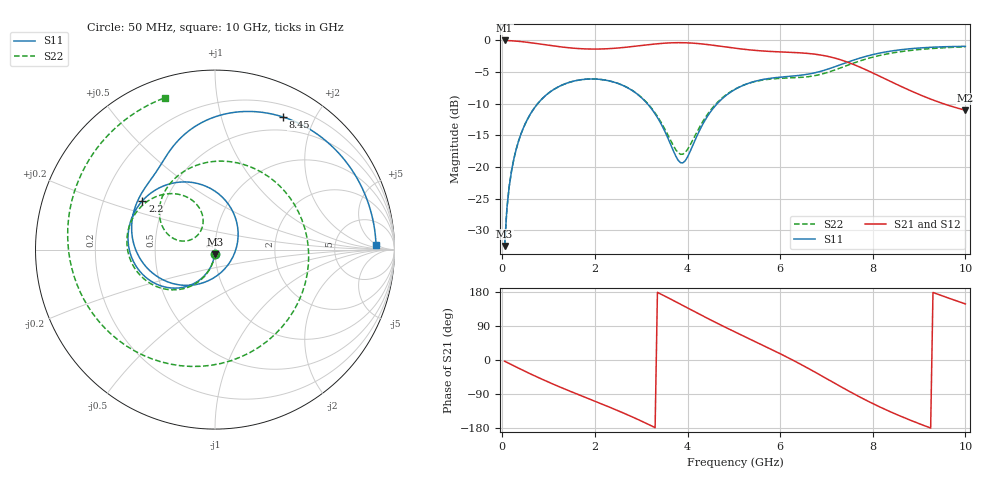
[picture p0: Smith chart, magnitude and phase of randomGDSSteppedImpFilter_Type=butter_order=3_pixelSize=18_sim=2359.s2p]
! freq	dB(S11)	phase(S11)	dB(S12)	phase(S12)
!  dB(S21)	phase(S21)	dB(S22)	phase(S22)
!S-par simulation data
#  GHz  S  DB  R 50
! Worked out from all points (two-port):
!   200 points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, 50 MHz to 10 GHz, reference 50 ohm
!   highest |S21| = -0.01 dB at 50 MHz (marker M1); lowest = -11.0 dB at 10 GHz (marker M2)
!   |S21| within 3 dB of the highest: start of sweep to 7.28 GHz
!   lowest |S11| = -32.5 dB at 50 MHz (marker M3), VSWR 1.05, Z = 49.8 - j2.36 ohm
!   |S11| at or under -10 dB: start of sweep to 764.2 MHz; 3.132 GHz to 4.641 GHz (1.509 GHz wide, 38.8 % of centre)
!   |S22| runs from -32.5 to -1.0 dB; largest |S21 - S12| = 0
!   S11 on the Smith chart (normalised r, x): 50 MHz: 1.00, -0.05; 2.2 GHz: 0.37, +0.27; 8.45 GHz: 0.33, +1.58; 10 GHz: 17, +4
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0.05  -32.50 -93.3  -0.01 -3.1  -0.01 -3.1  -32.52 -93.1
0.1  -26.52 -96.6  -0.02 -6.2  -0.02 -6.2  -26.53 -96.3
0.2  -20.60 -103.0  -0.06 -12.4  -0.06 -12.4  -20.60 -102.5
0.5  -13.09 -121.7  -0.26 -30.4  -0.26 -30.4  -13.10 -120.1
1.1  -7.80 -156.1  -0.87 -63.8  -0.87 -63.8  -7.80 -152.5
1.75  -6.17 169.6  -1.33 -96.6  -1.33 -96.6  -6.17 176.4
2.2  -6.24 146.0  -1.34 -118.7  -1.34 -118.7  -6.24 156.0
2.8  -7.89 111.1  -0.98 -149.8  -0.98 -149.8  -7.87 129.6
3.4  -12.81 63.3  -0.49 175.4  -0.49 175.4  -12.59 110.1
3.9  -19.35 -35.4  -0.36 143.8  -0.36 143.8  -17.98 142.4
4.45  -11.78 -129.3  -0.67 108.8  -0.67 108.8  -11.49 163.0
5.05  -7.64 -171.5  -1.25 72.5  -1.25 72.5  -7.60 134.6
5.95  -5.85 147.2  -1.80 19.7  -1.80 19.7  -6.02 71.6
6.3  -5.62 135.8  -1.91 -2.1  -1.91 -2.1  -5.91 39.5
6.7  -5.19 125.2  -2.13 -28.4  -2.13 -28.4  -5.63 -3.3
7.05  -4.49 116.1  -2.56 -52.5  -2.56 -52.5  -5.00 -43.5
7.5  -3.33 101.6  -3.56 -83.2  -3.56 -83.2  -3.81 -92.0
7.85  -2.52 88.1  -4.63 -105.8  -4.63 -105.8  -2.95 -124.4
8.35  -1.73 67.2  -6.37 -135.0  -6.37 -135.0  -2.07 -162.7
8.45  -1.62 63.0  -6.72 -140.4  -6.72 -140.4  -1.95 -169.4
9.1  -1.15 36.2  -8.84 -172.6  -8.84 -172.6  -1.38 152.4
10  -0.94 1.6  -11.03 147.9  -11.03 147.9  -1.00 108.2
